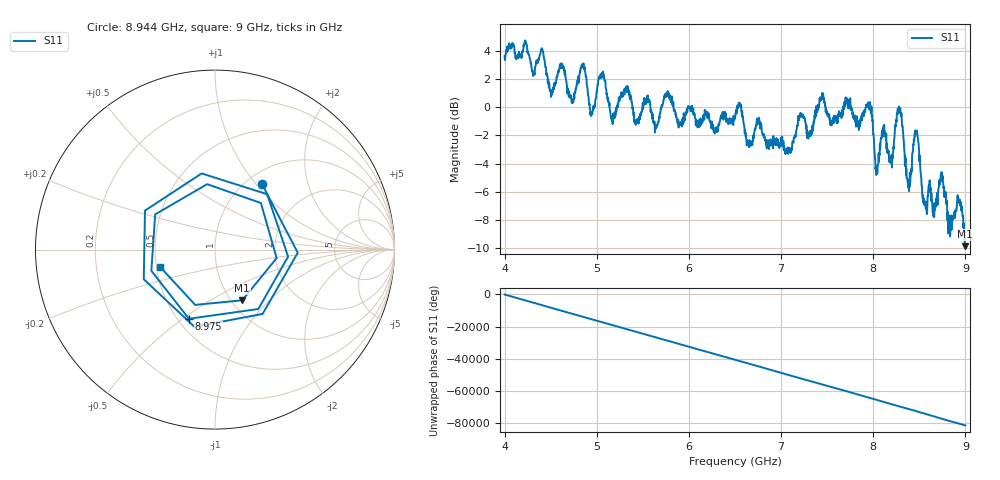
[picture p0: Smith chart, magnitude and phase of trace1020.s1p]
! Created with skrf 1.8.0 (http://scikit-rf.org).
# Hz S RI R 50.0
!freq ReS11 ImS11
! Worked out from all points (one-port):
!   1601 points, 4 GHz to 9 GHz, reference 50 ohm
!   lowest |S11| = -9.9 dB at 8.994 GHz (marker M1), VSWR 1.94, Z = 56.2 - j35.4 ohm
!   |S11| at or under -10 dB: nowhere
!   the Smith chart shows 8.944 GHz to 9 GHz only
!   S11 on the Smith chart (normalised r, x): 8.944 GHz: 1.18, +1.08; 8.975 GHz: 0.57, -0.53; 9 GHz: 0.52, -0.11
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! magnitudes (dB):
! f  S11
! 4 GHz  3.6
! 4.406 GHz  4.2
! 4.512 GHz  0.9
! 4.625 GHz  3.1
! 4.731 GHz  0.5
! 4.853 GHz  2.9
! 4.944 GHz  -0.4
! 5.047 GHz  2.3
! 5.169 GHz  -0.7
! 5.25 GHz  0.5
! 5.875 GHz  -1.1
! 6.5 GHz  -0.8
! 7.125 GHz  -2.4
! 7.441 GHz  0.7
! 7.75 GHz  0.7
! 7.962 GHz  0.0
! 8.044 GHz  -4.7
! 8.109 GHz  -1.4
! 8.197 GHz  -3.6
! 8.284 GHz  -0.2
! 8.375 GHz  -5.3
! 8.466 GHz  -1.8
! 8.559 GHz  -7.0
! 8.741 GHz  -4.6
! 8.944 GHz  -7.0
! 8.975 GHz  -7.7
! 8.994 GHz  -9.9
! 9 GHz  -9.9
